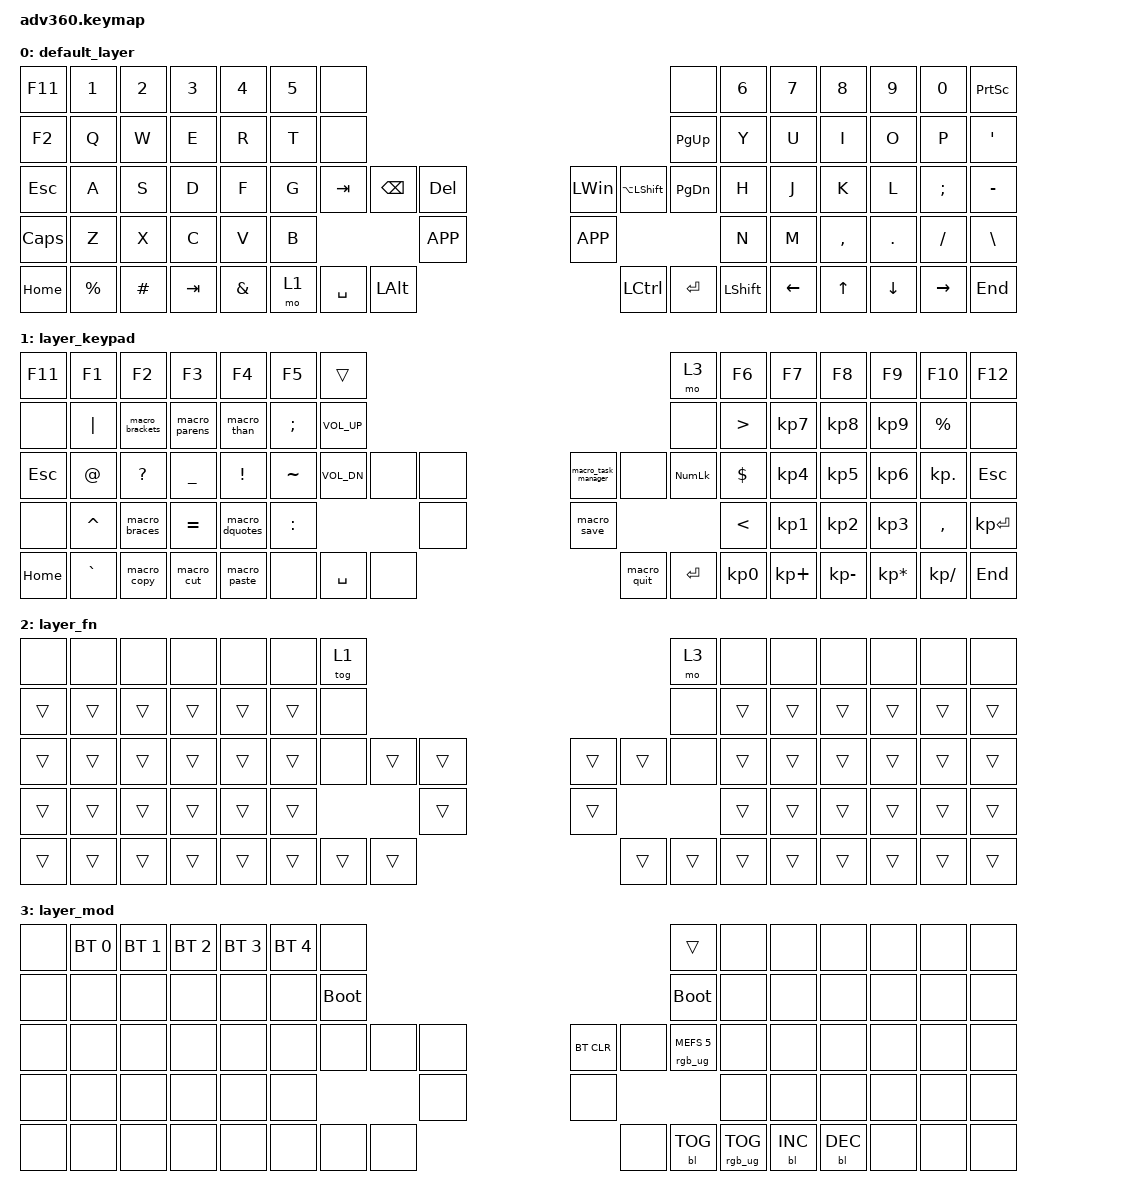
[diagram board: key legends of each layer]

/*
 * Copyright (c) 2020 The ZMK Contributors
 *
 * SPDX-License-Identifier: MIT
 */


/* THIS FILE WAS GENERATED!
 *
 * This file was generated automatically. You may or may not want to
 * edit it directly.
 */

#include <behaviors.dtsi>
#include <dt-bindings/zmk/keys.h>
#include <dt-bindings/zmk/bt.h>
#include <dt-bindings/zmk/rgb.h>
#include <dt-bindings/zmk/backlight.h>

/ {
  behaviors {
    #include "macros.dtsi"
    #include "version.dtsi"

    hm: homerow_mods {
        compatible = "zmk,behavior-hold-tap";
        label = "HOMEROW_MODS";
        #binding-cells = <2>;
        tapping-term-ms = <200>;
        quick_tap_ms = <175>;
        flavor = "tap-preferred";
        bindings = <&kp>, <&kp>;
    };
  };

    keymap {
        compatible = "zmk,keymap";


        default_layer {
            bindings = <
  &kp F11     &kp N1    &kp N2   &kp N3    &kp N4  &kp N5              &none                                                                                   &none  &kp N6    &kp N7     &kp N8    &kp N9     &kp N0  &kp PRINTSCREEN
   &kp F2      &kp Q     &kp W    &kp E     &kp R   &kp T              &none                                                                               &kp PG_UP   &kp Y     &kp U      &kp I     &kp O      &kp P          &kp SQT
  &kp ESC      &kp A     &kp S    &kp D     &kp F   &kp G            &kp TAB   &kp BSPC       &kp DEL                   &kp LWIN  &kp LA(LEFT_SHIFT)       &kp PG_DN   &kp H     &kp J      &kp K     &kp L   &kp SEMI        &kp MINUS
 &kp CAPS      &kp Z     &kp X    &kp C     &kp V   &kp B                                   &kp K_APP                  &kp K_APP                                       &kp N     &kp M  &kp COMMA   &kp DOT   &kp FSLH    &kp BACKSLASH
 &kp HOME  &kp PRCNT  &kp HASH  &kp TAB  &kp AMPS                      &mo 1  &kp SPACE  &kp LEFT_ALT                  &kp LCTRL           &kp ENTER  &kp LEFT_SHIFT          &kp LEFT     &kp UP  &kp DOWN  &kp RIGHT          &kp END
            >;
        };

        layer_keypad {
            bindings = <
  &kp F11     &kp F1           &kp F2          &kp F3           &kp F4         &kp F5                  &trans                                                                          &mo 3         &kp F6       &kp F7        &kp F8           &kp F9        &kp F10       &kp F12
    &none   &kp PIPE  &macro_brackets   &macro_parens      &macro_than  &kp SEMICOLON            &kp C_VOL_UP                                                                          &none         &kp GT    &kp KP_N7     &kp KP_N8        &kp KP_N9    &kp PERCENT         &none
  &kp ESC     &kp AT        &kp QMARK  &kp UNDERSCORE  &kp EXCLAMATION      &kp TILDE            &kp C_VOL_DN      &none   &none                  &macro_task_manager      &none  &kp KP_NUM     &kp DOLLAR    &kp KP_N4     &kp KP_N5        &kp KP_N6     &kp KP_DOT       &kp ESC
    &none  &kp CARET    &macro_braces       &kp EQUAL   &macro_dquotes      &kp COLON                                      &none                          &macro_save                         &kp LESS_THAN    &kp KP_N1     &kp KP_N2        &kp KP_N3      &kp COMMA  &kp KP_ENTER
 &kp HOME  &kp GRAVE      &macro_copy      &macro_cut     &macro_paste                                  &none  &kp SPACE   &none                          &macro_quit  &kp ENTER   &kp KP_N0                 &kp KP_PLUS  &kp KP_MINUS  &kp KP_MULTIPLY  &kp KP_DIVIDE       &kp END
            >;
        };

        layer_fn {
            bindings = <
  &none   &none   &none   &none   &none   &none            &tog 1                                                   &mo 3   &none   &none   &none   &none   &none   &none
 &trans  &trans  &trans  &trans  &trans  &trans             &none                                                   &none  &trans  &trans  &trans  &trans  &trans  &trans
 &trans  &trans  &trans  &trans  &trans  &trans             &none  &trans  &trans                  &trans  &trans   &none  &trans  &trans  &trans  &trans  &trans  &trans
 &trans  &trans  &trans  &trans  &trans  &trans                            &trans                  &trans                  &trans  &trans  &trans  &trans  &trans  &trans
 &trans  &trans  &trans  &trans  &trans                    &trans  &trans  &trans                  &trans  &trans  &trans          &trans  &trans  &trans  &trans  &trans
            >;
        };

        layer_mod {
            bindings = <
  &none  &bt BT_SEL 0  &bt BT_SEL 1  &bt BT_SEL 2  &bt BT_SEL 3  &bt BT_SEL 4                  &none                                                                          &trans   &none       &none       &none   &none   &none   &none
  &none         &none         &none         &none         &none         &none            &bootloader                                                                     &bootloader   &none       &none       &none   &none   &none   &none
  &none         &none         &none         &none         &none         &none                  &none   &none   &none                  &bt BT_CLR       &none  &rgb_ug RGB_MEFS_CMD 5   &none       &none       &none   &none   &none   &none
  &none         &none         &none         &none         &none         &none                                  &none                       &none                                       &none       &none       &none   &none   &none   &none
  &none         &none         &none         &none         &none                                &none   &none   &none                       &none  &bl BL_TOG         &rgb_ug RGB_TOG          &bl BL_INC  &bl BL_DEC   &none   &none   &none
            >;
        };

    };
};
